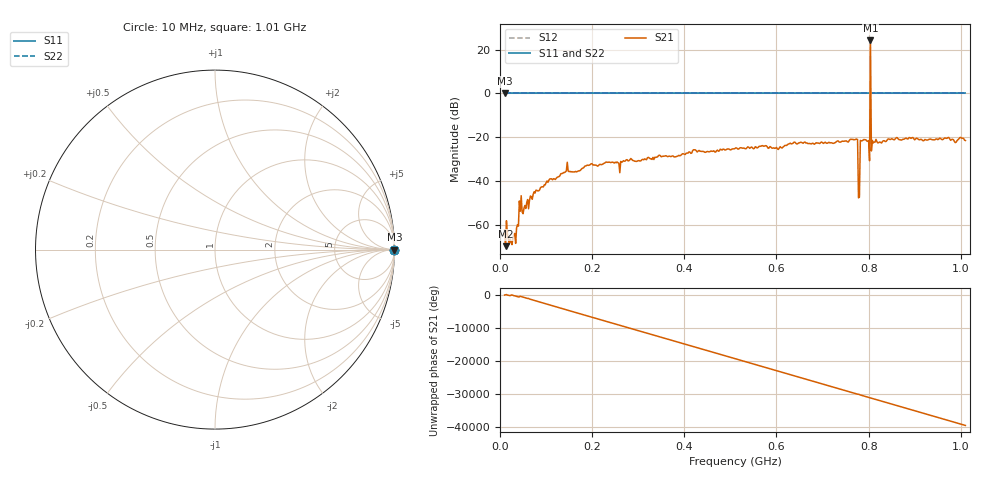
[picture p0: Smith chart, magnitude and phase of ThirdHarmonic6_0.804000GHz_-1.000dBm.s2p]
! 8/16/2025 2:48:13 AM
! C:\ANRITSUVNA\TEMP\TEMP.S2P
! CHANNEL.1
! TR.MEASUREMENT
! RAW.DATA
! RF.CORRECTION.OFF
! AVERAGING.OFF
! IF.BANDWIDTH: 5KHZ
! SWEEPTYPE:  FREQ.SWEEP(Linear)
! Reference Plane Port Info
! PORT:  PORT1  PORT2
! DISTANCE:  0  m  0  m
! TIME:  0  s  0  s
! PHASE.OFFSET:  0  deg.  0  deg.
! LOSS:  0  dB  0  dB
! REF.LOSS:  0  dB  0  dB
! REF.FREQ:  0  Hz  0  Hz
! Power Info
! POWER:  -20  dBm  -20  dBm
! EFF.POWER:  -20  dBm  -20  dBm
! SOURCE.ATTEN:  0  dB  0  dB
! TEST.ATTEN:  0  dB  0  dB
# GHZ S RI R 50.0
! FREQ.GHZ  S11RE  S11IM  S21RE  S21IM  S12RE  S12IM  S22RE  S22IM
!; PortSelection: Port_12
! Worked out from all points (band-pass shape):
!   501 points, 10 MHz to 1.01 GHz, reference 50 ohm
!   highest |S21| = 24.20 dB at 804 MHz (marker M1); lowest = -69.8 dB at 12 MHz (marker M2)
!   |S21| within 3 dB of the highest: 803.8908 MHz to 804.1188 MHz (227.9 kHz wide, 0.0283 % of centre)
!   lowest |S11| = 0.0 dB at 10 MHz (marker M3)
!   |S11| at or under -10 dB: nowhere
!   |S22| runs from 0.0 to 0.0 dB; largest |S21 - S12| = 17
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0.01  1 0  -0.000258 -0.000714  1 0  1 0
0.012  1 0  0.000212 -0.000244  1 0  1 0
0.022  1 0  0.000188 0.000432  1 0  1 0
0.03  1 0  0.000429 0.000421  1 0  1 0
0.046  1 0  -0.00351 0.00296  1 0  1 0
0.052  1 0  -0.000324 -0.00232  1 0  1 0
0.106  1 0  -0.00775 -0.00682  1 0  1 0
0.178  1 0  -0.0191 -0.00219  1 0  1 0
0.344  1 0  0.0352 -0.0142  1 0  1 0
0.51  1 0  -0.0386 0.0395  1 0  1 0
0.678  1 0  -0.0677 -0.0265  1 0  1 0
0.772  1 0  0.0887 0.011  1 0  1 0
0.776  1 0  -0.0806 -0.036  1 0  1 0
0.782  1 0  0.0638 -0.0552  1 0  1 0
0.786  1 0  -0.0786 0.0265  1 0  1 0
0.798  1 0  0.0655 0.0465  1 0  1 0
0.8  1 0  0.0623 -0.0555  1 0  1 0
0.804  1 0  -15.75 3.88  1 0  1 0
0.808  1 0  0.0804 -0.027  1 0  1 0
0.81  1 0  -0.00553 -0.0737  1 0  1 0
0.844  1 0  0.0882 -0.0221  1 0  1 0
1.01  1 0  -0.0488 0.0681  1 0  1 0
